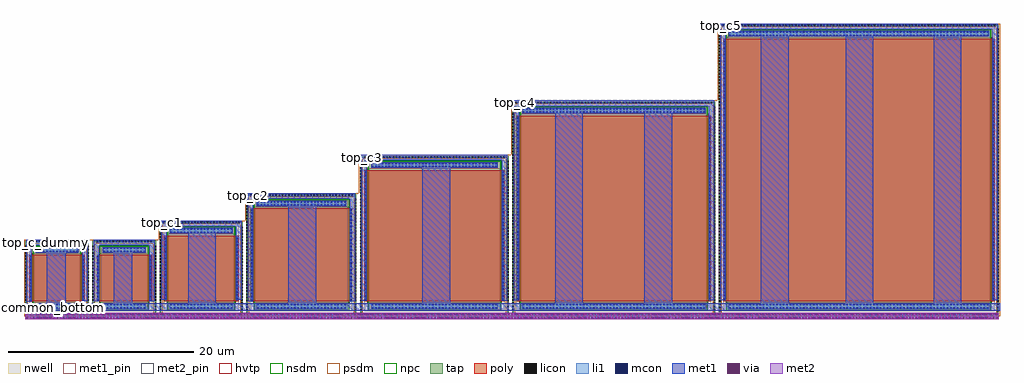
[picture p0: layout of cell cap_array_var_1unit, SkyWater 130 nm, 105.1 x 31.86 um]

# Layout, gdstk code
from math import pi, radians
import gdstk
lib = gdstk.Library(unit=1e-6, precision=1e-09)
def R(c, l, rs):  # rectangles x0, y0, x1, y1
    for r in rs: c.add(gdstk.rectangle(r[:2], r[2:], *l))
def A(c, l, x, y, w, h, nx, ny, dx, dy):  # array of equal rectangles
    R(c, l, [(x+i*dx, y+j*dy, x+i*dx+w, y+j*dy+h) for i in range(nx) for j in range(ny)])
def P(c, l, *ps):  # polygons
    for p in ps: c.add(gdstk.Polygon(p, *l))
nwell = (64, 20)
tap = (65, 44)
poly = (66, 20)
licon = (66, 44)
li1 = (67, 20)
mcon = (67, 44)
met1_pin = (68, 16)
met1 = (68, 20)
via = (68, 44)
met2_pin = (69, 16)
met2 = (69, 20)
hvtp = (78, 44)
nsdm = (93, 44)
psdm = (94, 20)
npc = (95, 20)

cap_var_11 = lib.new_cell('cap_var$11')
R(cap_var_11, nwell, [(-0.18,-0.49,30.23,28.77)])
R(cap_var_11, tap, [(0,0,30.05,28.28)])
P(cap_var_11, tap, [(-0.62,-0.93),(-0.62,29.04),(-0.45,29.04),(-0.45,-0.76),(30.5,-0.76),(30.5,29.04),(-0.62,29.04),(-0.62,29.21),(30.67,29.21),(30.67,-0.93)])
R(cap_var_11, poly, [(0.885,-0.48,29.165,-0.15), (0.885,-0.15,29.165,28.43), (0.885,28.43,29.165,28.76)])
A(cap_var_11, licon, -0.19, -0.93, 0.17, 0.17, 90, 2, 0.34, 29.97)
A(cap_var_11, licon, -0.62, -0.565, 0.17, 0.17, 1, 87, 0, 0.34)
A(cap_var_11, licon, 30.5, -0.565, 0.17, 0.17, 1, 87, 0, 0.34)
A(cap_var_11, licon, 1.08, -0.4, 0.17, 0.17, 78, 2, 0.36, 28.91)
A(cap_var_11, licon, 0.08, 0.195, 0.17, 0.17, 1, 78, 0, 0.36)
A(cap_var_11, licon, 0.44, 0.195, 0.17, 0.17, 1, 78, 0, 0.36)
A(cap_var_11, licon, 29.44, 0.195, 0.17, 0.17, 1, 78, 0, 0.36)
A(cap_var_11, licon, 29.8, 0.195, 0.17, 0.17, 1, 78, 0, 0.36)
R(cap_var_11, li1, [(1,-0.4,29.05,-0.23), (0.08,0.115,0.61,28.165), (29.44,0.115,29.97,28.165), (1,28.51,29.05,28.68)])
A(cap_var_11, mcon, 1.08, -0.4, 0.17, 0.17, 78, 2, 0.36, 28.91)
A(cap_var_11, mcon, 0.08, 0.195, 0.17, 0.17, 1, 78, 0, 0.36)
A(cap_var_11, mcon, 0.44, 0.195, 0.17, 0.17, 1, 78, 0, 0.36)
A(cap_var_11, mcon, 29.44, 0.195, 0.17, 0.17, 1, 78, 0, 0.36)
A(cap_var_11, mcon, 29.8, 0.195, 0.17, 0.17, 1, 78, 0, 0.36)
R(cap_var_11, met1, [(1.02,-0.43,29.03,-0.2), (0.05,0.135,0.64,28.145), (29.41,0.135,30,28.145), (1.02,28.48,29.03,28.71)])
R(cap_var_11, hvtp, [(0.705,-0.18,29.345,28.46)])
R(cap_var_11, nsdm, [(-0.125,-0.125,30.175,28.405)])
P(cap_var_11, psdm, [(-0.745,-1.055),(-0.745,28.915),(-0.325,28.915),(-0.325,-0.635),(30.375,-0.635),(30.375,28.915),(-0.745,28.915),(-0.745,29.335),(30.795,29.335),(30.795,-1.055)])
R(cap_var_11, npc, [(0.875,-0.49,29.175,-0.14), (0.875,28.42,29.175,28.77)])

cap_var_10 = lib.new_cell('cap_var$10')
R(cap_var_10, nwell, [(-0.18,-0.49,21.95,20.49)])
R(cap_var_10, tap, [(0,0,21.77,20)])
P(cap_var_10, tap, [(-0.62,-0.93),(-0.62,20.76),(-0.45,20.76),(-0.45,-0.76),(22.22,-0.76),(22.22,20.76),(-0.62,20.76),(-0.62,20.93),(22.39,20.93),(22.39,-0.93)])
R(cap_var_10, poly, [(0.885,-0.48,20.885,-0.15), (0.885,-0.15,20.885,20.15), (0.885,20.15,20.885,20.48)])
A(cap_var_10, licon, -0.08, -0.93, 0.17, 0.17, 65, 2, 0.34, 21.69)
A(cap_var_10, licon, -0.62, -0.625, 0.17, 0.17, 1, 63, 0, 0.34)
A(cap_var_10, licon, 22.22, -0.625, 0.17, 0.17, 1, 63, 0, 0.34)
A(cap_var_10, licon, 1.08, -0.4, 0.17, 0.17, 55, 2, 0.36, 20.63)
A(cap_var_10, licon, 0.08, 0.195, 0.17, 0.17, 1, 55, 0, 0.36)
A(cap_var_10, licon, 0.44, 0.195, 0.17, 0.17, 1, 55, 0, 0.36)
A(cap_var_10, licon, 21.16, 0.195, 0.17, 0.17, 1, 55, 0, 0.36)
A(cap_var_10, licon, 21.52, 0.195, 0.17, 0.17, 1, 55, 0, 0.36)
R(cap_var_10, li1, [(1,-0.4,20.77,-0.23), (0.08,0.115,0.61,19.885), (21.16,0.115,21.69,19.885), (1,20.23,20.77,20.4)])
A(cap_var_10, mcon, 1.08, -0.4, 0.17, 0.17, 55, 2, 0.36, 20.63)
A(cap_var_10, mcon, 0.08, 0.195, 0.17, 0.17, 1, 55, 0, 0.36)
A(cap_var_10, mcon, 0.44, 0.195, 0.17, 0.17, 1, 55, 0, 0.36)
A(cap_var_10, mcon, 21.16, 0.195, 0.17, 0.17, 1, 55, 0, 0.36)
A(cap_var_10, mcon, 21.52, 0.195, 0.17, 0.17, 1, 55, 0, 0.36)
R(cap_var_10, met1, [(1.02,-0.43,20.75,-0.2), (0.05,0.135,0.64,19.865), (21.13,0.135,21.72,19.865), (1.02,20.2,20.75,20.43)])
R(cap_var_10, hvtp, [(0.705,-0.18,21.065,20.18)])
R(cap_var_10, nsdm, [(-0.125,-0.125,21.895,20.125)])
P(cap_var_10, psdm, [(-0.745,-1.055),(-0.745,20.635),(-0.325,20.635),(-0.325,-0.635),(22.095,-0.635),(22.095,20.635),(-0.745,20.635),(-0.745,21.055),(22.515,21.055),(22.515,-1.055)])
R(cap_var_10, npc, [(0.875,-0.49,20.895,-0.14), (0.875,20.14,20.895,20.49)])

cap_var_9 = lib.new_cell('cap_var$9')
R(cap_var_9, nwell, [(-0.18,-0.49,16.09,14.63)])
R(cap_var_9, tap, [(0,0,15.91,14.14)])
P(cap_var_9, tap, [(-0.62,-0.93),(-0.62,14.9),(-0.45,14.9),(-0.45,-0.76),(16.36,-0.76),(16.36,14.9),(-0.62,14.9),(-0.62,15.07),(16.53,15.07),(16.53,-0.93)])
R(cap_var_9, poly, [(0.885,-0.48,15.025,-0.15), (0.885,-0.15,15.025,14.29), (0.885,14.29,15.025,14.62)])
A(cap_var_9, licon, -0.12, -0.93, 0.17, 0.17, 48, 2, 0.34, 15.83)
A(cap_var_9, licon, -0.62, -0.495, 0.17, 0.17, 1, 45, 0, 0.34)
A(cap_var_9, licon, 16.36, -0.495, 0.17, 0.17, 1, 45, 0, 0.34)
A(cap_var_9, licon, 1.03, -0.4, 0.17, 0.17, 39, 2, 0.36, 14.77)
A(cap_var_9, licon, 0.08, 0.325, 0.17, 0.17, 1, 38, 0, 0.36)
A(cap_var_9, licon, 0.44, 0.325, 0.17, 0.17, 1, 38, 0, 0.36)
A(cap_var_9, licon, 15.3, 0.325, 0.17, 0.17, 1, 38, 0, 0.36)
A(cap_var_9, licon, 15.66, 0.325, 0.17, 0.17, 1, 38, 0, 0.36)
R(cap_var_9, li1, [(0.95,-0.4,14.96,-0.23), (0.08,0.245,0.61,13.895), (15.3,0.245,15.83,13.895), (0.95,14.37,14.96,14.54)])
A(cap_var_9, mcon, 1.03, -0.4, 0.17, 0.17, 39, 2, 0.36, 14.77)
A(cap_var_9, mcon, 0.08, 0.325, 0.17, 0.17, 1, 38, 0, 0.36)
A(cap_var_9, mcon, 0.44, 0.325, 0.17, 0.17, 1, 38, 0, 0.36)
A(cap_var_9, mcon, 15.3, 0.325, 0.17, 0.17, 1, 38, 0, 0.36)
A(cap_var_9, mcon, 15.66, 0.325, 0.17, 0.17, 1, 38, 0, 0.36)
R(cap_var_9, met1, [(0.97,-0.43,14.94,-0.2), (0.05,0.265,0.64,13.875), (15.27,0.265,15.86,13.875), (0.97,14.34,14.94,14.57)])
R(cap_var_9, hvtp, [(0.705,-0.18,15.205,14.32)])
R(cap_var_9, nsdm, [(-0.125,-0.125,16.035,14.265)])
P(cap_var_9, psdm, [(-0.745,-1.055),(-0.745,14.775),(-0.325,14.775),(-0.325,-0.635),(16.235,-0.635),(16.235,14.775),(-0.745,14.775),(-0.745,15.195),(16.655,15.195),(16.655,-1.055)])
R(cap_var_9, npc, [(0.875,-0.49,15.035,-0.14), (0.875,14.28,15.035,14.63)])

cap_var_8 = lib.new_cell('cap_var$8')
R(cap_var_8, nwell, [(-0.18,-0.49,11.95,10.49)])
R(cap_var_8, tap, [(0,0,11.77,10)])
P(cap_var_8, tap, [(-0.62,-0.93),(-0.62,10.76),(-0.45,10.76),(-0.45,-0.76),(12.22,-0.76),(12.22,10.76),(-0.62,10.76),(-0.62,10.93),(12.39,10.93),(12.39,-0.93)])
R(cap_var_8, poly, [(0.885,-0.48,10.885,-0.15), (0.885,-0.15,10.885,10.15), (0.885,10.15,10.885,10.48)])
A(cap_var_8, licon, -0.15, -0.93, 0.17, 0.17, 36, 2, 0.34, 11.69)
A(cap_var_8, licon, -0.62, -0.525, 0.17, 0.17, 1, 33, 0, 0.34)
A(cap_var_8, licon, 12.22, -0.525, 0.17, 0.17, 1, 33, 0, 0.34)
A(cap_var_8, licon, 0.94, -0.4, 0.17, 0.17, 28, 2, 0.36, 10.63)
A(cap_var_8, licon, 0.08, 0.235, 0.17, 0.17, 1, 27, 0, 0.36)
A(cap_var_8, licon, 0.44, 0.235, 0.17, 0.17, 1, 27, 0, 0.36)
A(cap_var_8, licon, 11.16, 0.235, 0.17, 0.17, 1, 27, 0, 0.36)
A(cap_var_8, licon, 11.52, 0.235, 0.17, 0.17, 1, 27, 0, 0.36)
R(cap_var_8, li1, [(0.86,-0.4,10.91,-0.23), (0.08,0.155,0.61,9.845), (11.16,0.155,11.69,9.845), (0.86,10.23,10.91,10.4)])
A(cap_var_8, mcon, 0.94, -0.4, 0.17, 0.17, 28, 2, 0.36, 10.63)
A(cap_var_8, mcon, 0.08, 0.235, 0.17, 0.17, 1, 27, 0, 0.36)
A(cap_var_8, mcon, 0.44, 0.235, 0.17, 0.17, 1, 27, 0, 0.36)
A(cap_var_8, mcon, 11.16, 0.235, 0.17, 0.17, 1, 27, 0, 0.36)
A(cap_var_8, mcon, 11.52, 0.235, 0.17, 0.17, 1, 27, 0, 0.36)
R(cap_var_8, met1, [(0.88,-0.43,10.89,-0.2), (0.05,0.175,0.64,9.825), (11.13,0.175,11.72,9.825), (0.88,10.2,10.89,10.43)])
R(cap_var_8, hvtp, [(0.705,-0.18,11.065,10.18)])
R(cap_var_8, nsdm, [(-0.125,-0.125,11.895,10.125)])
P(cap_var_8, psdm, [(-0.745,-1.055),(-0.745,10.635),(-0.325,10.635),(-0.325,-0.635),(12.095,-0.635),(12.095,10.635),(-0.745,10.635),(-0.745,11.055),(12.515,11.055),(12.515,-1.055)])
R(cap_var_8, npc, [(0.875,-0.49,10.895,-0.14), (0.875,10.14,10.895,10.49)])

cap_var_7 = lib.new_cell('cap_var$7')
R(cap_var_7, nwell, [(-0.18,-0.49,9.02,7.56)])
R(cap_var_7, tap, [(0,0,8.84,7.07)])
P(cap_var_7, tap, [(-0.62,-0.93),(-0.62,7.83),(-0.45,7.83),(-0.45,-0.76),(9.29,-0.76),(9.29,7.83),(-0.62,7.83),(-0.62,8),(9.46,8),(9.46,-0.93)])
R(cap_var_7, poly, [(0.885,-0.48,7.955,-0.15), (0.885,-0.15,7.955,7.22), (0.885,7.22,7.955,7.55)])
A(cap_var_7, licon, -0.085, -0.93, 0.17, 0.17, 27, 2, 0.34, 8.76)
A(cap_var_7, licon, -0.62, -0.63, 0.17, 0.17, 1, 25, 0, 0.34)
A(cap_var_7, licon, 9.29, -0.63, 0.17, 0.17, 1, 25, 0, 0.34)
A(cap_var_7, licon, 1.095, -0.4, 0.17, 0.17, 19, 2, 0.36, 7.7)
A(cap_var_7, licon, 0.08, 0.21, 0.17, 0.17, 1, 19, 0, 0.36)
A(cap_var_7, licon, 0.44, 0.21, 0.17, 0.17, 1, 19, 0, 0.36)
A(cap_var_7, licon, 8.23, 0.21, 0.17, 0.17, 1, 19, 0, 0.36)
A(cap_var_7, licon, 8.59, 0.21, 0.17, 0.17, 1, 19, 0, 0.36)
R(cap_var_7, li1, [(1.015,-0.4,7.825,-0.23), (0.08,0.13,0.61,6.94), (8.23,0.13,8.76,6.94), (1.015,7.3,7.825,7.47)])
A(cap_var_7, mcon, 1.095, -0.4, 0.17, 0.17, 19, 2, 0.36, 7.7)
A(cap_var_7, mcon, 0.08, 0.21, 0.17, 0.17, 1, 19, 0, 0.36)
A(cap_var_7, mcon, 0.44, 0.21, 0.17, 0.17, 1, 19, 0, 0.36)
A(cap_var_7, mcon, 8.23, 0.21, 0.17, 0.17, 1, 19, 0, 0.36)
A(cap_var_7, mcon, 8.59, 0.21, 0.17, 0.17, 1, 19, 0, 0.36)
R(cap_var_7, met1, [(1.035,-0.43,7.805,-0.2), (0.05,0.15,0.64,6.92), (8.2,0.15,8.79,6.92), (1.035,7.27,7.805,7.5)])
R(cap_var_7, hvtp, [(0.705,-0.18,8.135,7.25)])
R(cap_var_7, nsdm, [(-0.125,-0.125,8.965,7.195)])
P(cap_var_7, psdm, [(-0.745,-1.055),(-0.745,7.705),(-0.325,7.705),(-0.325,-0.635),(9.165,-0.635),(9.165,7.705),(-0.745,7.705),(-0.745,8.125),(9.585,8.125),(9.585,-1.055)])
R(cap_var_7, npc, [(0.875,-0.49,7.965,-0.14), (0.875,7.21,7.965,7.56)])

cap_var = lib.new_cell('cap_var')
R(cap_var, nwell, [(-0.18,-0.49,6.95,5.49)])
R(cap_var, tap, [(0,0,6.77,5)])
P(cap_var, tap, [(-0.62,-0.93),(-0.62,5.76),(-0.45,5.76),(-0.45,-0.76),(7.22,-0.76),(7.22,5.76),(-0.62,5.76),(-0.62,5.93),(7.39,5.93),(7.39,-0.93)])
R(cap_var, poly, [(0.885,-0.48,5.885,-0.15), (0.885,-0.15,5.885,5.15), (0.885,5.15,5.885,5.48)])
A(cap_var, licon, -0.1, -0.93, 0.17, 0.17, 21, 2, 0.34, 6.69)
A(cap_var, licon, -0.62, -0.475, 0.17, 0.17, 1, 18, 0, 0.34)
A(cap_var, licon, 7.22, -0.475, 0.17, 0.17, 1, 18, 0, 0.34)
A(cap_var, licon, 0.96, -0.4, 0.17, 0.17, 14, 2, 0.36, 5.63)
A(cap_var, licon, 0.08, 0.255, 0.17, 0.17, 1, 13, 0, 0.36)
A(cap_var, licon, 0.44, 0.255, 0.17, 0.17, 1, 13, 0, 0.36)
A(cap_var, licon, 6.16, 0.255, 0.17, 0.17, 1, 13, 0, 0.36)
A(cap_var, licon, 6.52, 0.255, 0.17, 0.17, 1, 13, 0, 0.36)
R(cap_var, li1, [(0.88,-0.4,5.89,-0.23), (0.08,0.175,0.61,4.825), (6.16,0.175,6.69,4.825), (0.88,5.23,5.89,5.4)])
A(cap_var, mcon, 0.96, -0.4, 0.17, 0.17, 14, 2, 0.36, 5.63)
A(cap_var, mcon, 0.08, 0.255, 0.17, 0.17, 1, 13, 0, 0.36)
A(cap_var, mcon, 0.44, 0.255, 0.17, 0.17, 1, 13, 0, 0.36)
A(cap_var, mcon, 6.16, 0.255, 0.17, 0.17, 1, 13, 0, 0.36)
A(cap_var, mcon, 6.52, 0.255, 0.17, 0.17, 1, 13, 0, 0.36)
R(cap_var, met1, [(0.9,-0.43,5.87,-0.2), (0.05,0.195,0.64,4.805), (6.13,0.195,6.72,4.805), (0.9,5.2,5.87,5.43)])
R(cap_var, hvtp, [(0.705,-0.18,6.065,5.18)])
R(cap_var, nsdm, [(-0.125,-0.125,6.895,5.125)])
P(cap_var, psdm, [(-0.745,-1.055),(-0.745,5.635),(-0.325,5.635),(-0.325,-0.635),(7.095,-0.635),(7.095,5.635),(-0.745,5.635),(-0.745,6.055),(7.515,6.055),(7.515,-1.055)])
R(cap_var, npc, [(0.875,-0.49,5.895,-0.14), (0.875,5.14,5.895,5.49)])

vias_gen = lib.new_cell('vias_gen')
R(vias_gen, li1, [(0,0,104.85,0.74)])
A(vias_gen, mcon, 0.14, 0.105, 0.17, 0.17, 291, 2, 0.36, 0.36)
R(vias_gen, met1, [(0,0,104.85,0.74)])
A(vias_gen, via, 0.19, 0.135, 0.15, 0.15, 327, 2, 0.32, 0.32)
R(vias_gen, met2, [(0,0,104.85,0.74)])

cap_array_var_1unit = lib.new_cell('cap_array_var_1unit')
R(cap_array_var_1unit, met1_pin, [(-5.98,0.162,-5.68,0.463), (-5.6,7.178,-5.4,7.378), (1.68,7.178,1.88,7.378), (8.83,9.275,9.03,9.475), (18.105,12.19,18.305,12.39), (30.38,16.32,30.58,16.52), (46.765,22.2,46.965,22.4), (69.02,30.49,69.22,30.69)])
R(cap_array_var_1unit, met2_pin, [(-5.848,-0.808,-5.648,-0.608)])
R(cap_array_var_1unit, psdm, [(1.055,-0.745,1.195,7.515), (8.305,-0.745,8.445,7.515), (17.625,-0.745,17.765,9.585), (29.875,-0.745,30.015,12.515), (46.265,-0.745,46.405,16.655), (68.515,-0.745,68.655,22.515)])
cap_array_var_1unit.add(gdstk.FlexPath([(-6.055,0.29),(99.045,0.29)], 0.8, ends="flush", simple_path=True, layer=68, datatype=20))  # met1
cap_array_var_1unit.add(gdstk.FlexPath([(-5.5,0.85),(-5.5,7.515)], 0.6, ends="flush", simple_path=True, layer=68, datatype=20))  # met1
cap_array_var_1unit.add(gdstk.FlexPath([(-5.51,7.215),(0.8,7.215)], 0.6, ends="flush", simple_path=True, layer=68, datatype=20))  # met1
cap_array_var_1unit.add(gdstk.FlexPath([(0.5,7.455),(0.5,0.9)], 0.6, ends="flush", simple_path=True, layer=68, datatype=20))  # met1
cap_array_var_1unit.add(gdstk.FlexPath([(1.75,0.9),(1.75,7.515)], 0.6, ends="flush", simple_path=True, layer=68, datatype=20))  # met1
cap_array_var_1unit.add(gdstk.FlexPath([(-2.585,6.43),(-2.585,0.22)], 2, ends="flush", simple_path=True, layer=68, datatype=20))  # met1
cap_array_var_1unit.add(gdstk.FlexPath([(4.625,6.43),(4.625,0.22)], 2, ends="flush", simple_path=True, layer=68, datatype=20))  # met1
cap_array_var_1unit.add(gdstk.FlexPath([(7.75,0.9),(7.75,7.515)], 0.6, ends="flush", simple_path=True, layer=68, datatype=20))  # met1
cap_array_var_1unit.add(gdstk.FlexPath([(1.685,7.215),(7.995,7.215)], 0.6, ends="flush", simple_path=True, layer=68, datatype=20))  # met1
cap_array_var_1unit.add(gdstk.FlexPath([(9,1.035),(9,9.585)], 0.6, ends="flush", simple_path=True, layer=68, datatype=20))  # met1
cap_array_var_1unit.add(gdstk.FlexPath([(17.07,1.035),(17.07,9.585)], 0.6, ends="flush", simple_path=True, layer=68, datatype=20))  # met1
cap_array_var_1unit.add(gdstk.FlexPath([(17.215,9.285),(8.935,9.285)], 0.6, ends="flush", simple_path=True, layer=68, datatype=20))  # met1
cap_array_var_1unit.add(gdstk.FlexPath([(18.32,0.88),(18.32,12.515)], 0.6, ends="flush", simple_path=True, layer=68, datatype=20))  # met1
cap_array_var_1unit.add(gdstk.FlexPath([(29.32,0.88),(29.32,12.515)], 0.6, ends="flush", simple_path=True, layer=68, datatype=20))  # met1
cap_array_var_1unit.add(gdstk.FlexPath([(29.395,12.215),(18.25,12.215)], 0.6, ends="flush", simple_path=True, layer=68, datatype=20))  # met1
cap_array_var_1unit.add(gdstk.FlexPath([(30.57,0.97),(30.57,16.655)], 0.6, ends="flush", simple_path=True, layer=68, datatype=20))  # met1
cap_array_var_1unit.add(gdstk.FlexPath([(45.71,0.97),(45.71,16.655)], 0.6, ends="flush", simple_path=True, layer=68, datatype=20))  # met1
cap_array_var_1unit.add(gdstk.FlexPath([(45.69,16.355),(30.575,16.355)], 0.6, ends="flush", simple_path=True, layer=68, datatype=20))  # met1
cap_array_var_1unit.add(gdstk.FlexPath([(46.96,1.02),(46.96,22.515)], 0.6, ends="flush", simple_path=True, layer=68, datatype=20))  # met1
cap_array_var_1unit.add(gdstk.FlexPath([(67.96,1.02),(67.96,22.515)], 0.6, ends="flush", simple_path=True, layer=68, datatype=20))  # met1
cap_array_var_1unit.add(gdstk.FlexPath([(67.715,22.215),(46.92,22.215)], 0.6, ends="flush", simple_path=True, layer=68, datatype=20))  # met1
cap_array_var_1unit.add(gdstk.FlexPath([(69.21,1.02),(69.21,30.795)], 0.6, ends="flush", simple_path=True, layer=68, datatype=20))  # met1
cap_array_var_1unit.add(gdstk.FlexPath([(98.49,1.02),(98.49,30.795)], 0.6, ends="flush", simple_path=True, layer=68, datatype=20))  # met1
cap_array_var_1unit.add(gdstk.FlexPath([(98.565,30.495),(69.245,30.495)], 0.6, ends="flush", simple_path=True, layer=68, datatype=20))  # met1
cap_array_var_1unit.add(gdstk.FlexPath([(13.115,8.465),(13.115,0.215)], 3, ends="flush", simple_path=True, layer=68, datatype=20))  # met1
cap_array_var_1unit.add(gdstk.FlexPath([(23.905,11.41),(23.905,0.245)], 3, ends="flush", simple_path=True, layer=68, datatype=20))  # met1
cap_array_var_1unit.add(gdstk.FlexPath([(38.325,15.445),(38.325,0.13)], 3, ends="flush", simple_path=True, layer=68, datatype=20))  # met1
cap_array_var_1unit.add(gdstk.FlexPath([(52.63,21.5),(52.63,0.08)], 3, ends="flush", simple_path=True, layer=68, datatype=20))  # met1
cap_array_var_1unit.add(gdstk.FlexPath([(62.225,21.415),(62.225,0.285)], 3, ends="flush", simple_path=True, layer=68, datatype=20))  # met1
cap_array_var_1unit.add(gdstk.FlexPath([(74.79,29.66),(74.79,0.19)], 3, ends="flush", simple_path=True, layer=68, datatype=20))  # met1
cap_array_var_1unit.add(gdstk.FlexPath([(83.91,29.535),(83.91,0.255)], 3, ends="flush", simple_path=True, layer=68, datatype=20))  # met1
cap_array_var_1unit.add(gdstk.FlexPath([(93.395,29.66),(93.395,0.19)], 3, ends="flush", simple_path=True, layer=68, datatype=20))  # met1
cap_array_var_1unit.add(gdstk.Reference(cap_var_11, (97.99,0), rotation=pi/2))
cap_array_var_1unit.add(gdstk.Reference(cap_var_10, (67.46,0), rotation=pi/2))
cap_array_var_1unit.add(gdstk.Reference(cap_var_9, (45.21,0), rotation=pi/2))
cap_array_var_1unit.add(gdstk.Reference(cap_var_8, (28.82,0), rotation=pi/2))
cap_array_var_1unit.add(gdstk.Reference(cap_var_7, (16.57,0), rotation=pi/2))
cap_array_var_1unit.add(gdstk.Reference(cap_var, (7.25,0), rotation=pi/2))
cap_array_var_1unit.add(gdstk.Reference(cap_var, (0,0), rotation=pi/2))
cap_array_var_1unit.add(gdstk.Reference(vias_gen, (-5.93,-1.065)))
cap_array_var_1unit.add(gdstk.Label('common_bottom', (-5.895,0.22), layer=68, texttype=5))
cap_array_var_1unit.add(gdstk.Label('top_c_dummy', (-5.535,7.24), layer=68, texttype=5))
cap_array_var_1unit.add(gdstk.Label('top_c0', (1.745,7.24), layer=68, texttype=5))
cap_array_var_1unit.add(gdstk.Label('top_c1', (8.895,9.34), layer=68, texttype=5))
cap_array_var_1unit.add(gdstk.Label('top_c2', (18.17,12.255), layer=68, texttype=5))
cap_array_var_1unit.add(gdstk.Label('top_c3', (30.445,16.385), layer=68, texttype=5))
cap_array_var_1unit.add(gdstk.Label('top_c4', (46.83,22.265), layer=68, texttype=5))
cap_array_var_1unit.add(gdstk.Label('top_c5', (69.085,30.555), layer=68, texttype=5))
cap_array_var_1unit.add(gdstk.Label('VCTRL', (-5.78,-0.75), layer=69, texttype=5))

lib.write_gds('cap_array_var_1unit.gds')
